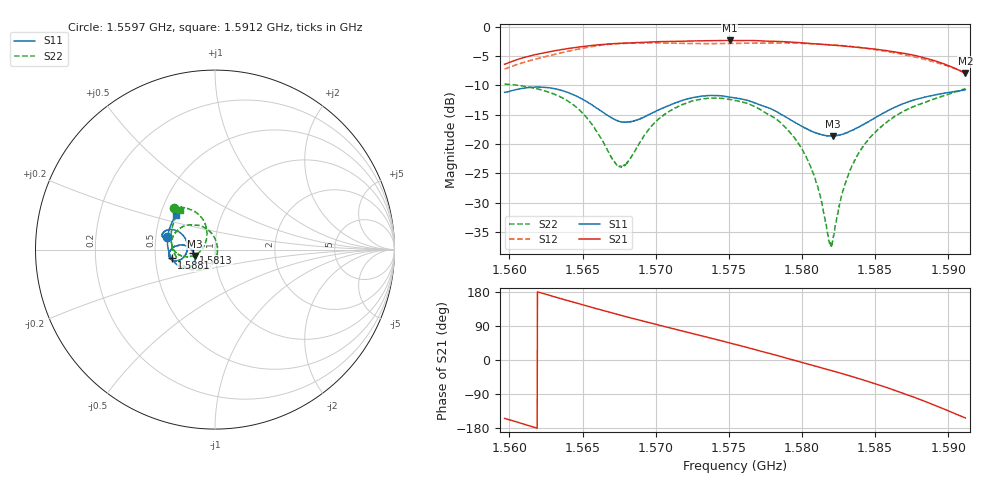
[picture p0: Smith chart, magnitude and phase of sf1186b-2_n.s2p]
!sf1186b-2, demo1,narrow,bn,7/20/05
# HZ S RI R 50
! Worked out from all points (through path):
!   1601 points, 1.5597 GHz to 1.5912 GHz, reference 50 ohm
!   highest |S21| = -2.36 dB at 1.575 GHz (marker M1); lowest = -8.0 dB at 1.5912 GHz (marker M2)
!   lowest |S11| = -18.6 dB at 1.5821 GHz (marker M3), VSWR 1.27, Z = 39.9 - j2.86 ohm
!   |S11| at or under -10 dB: start of sweep to end of sweep
!   |S22| runs from -37.4 to -9.8 dB; largest |S21 - S12| = 0.072
!   S11 on the Smith chart (normalised r, x): 1.5597 GHz: 0.57, +0.09; 1.5813 GHz: 0.79, -0.03; 1.5881 GHz: 0.61, -0.06; 1.5912 GHz: 0.60, +0.25
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1.55967e9  -0.2667 0.0698  -0.4295 -0.2089  -0.3808 -0.2118  -0.226 0.2312
1.562328e9  -0.2902 0.0923  -0.5949 0.0503  -0.5499 -0.00174  -0.1661 0.2311
1.564927e9  -0.2192 0.1062  -0.5622 0.3716  -0.5746 0.3063  -0.0714 0.1736
1.567584e9  -0.153 0.0257  -0.3412 0.6348  -0.3701 0.6142  -0.0572 0.0296
1.568057e9  -0.1545 0.00619  -0.2875 0.6645  -0.3142 0.6482  -0.0683 0.00879
1.570183e9  -0.1869 -0.054  -0.0311 0.7439  -0.0421 0.7248  -0.1583 -0.0398
1.572487e9  -0.2408 -0.059  0.2566 0.7097  0.2324 0.6791  -0.2326 0.000999
1.575046e9  -0.2509 -0.00931  0.5375 0.5399  0.486 0.5297  -0.2198 0.0956
1.57542e9  -0.2473 -0.00366  0.5704 0.5023  0.5191 0.4993  -0.2094 0.1058
1.57857e9  -0.1772 0.0249  0.7362 0.1165  0.709 0.1591  -0.0754 0.1302
1.57981e9  -0.1456 0.0119  0.7278 -0.0538  0.7211 -0.0112  -0.0239 0.0962
1.580677e9  -0.1282 -0.00376  0.6964 -0.1665  0.7021 -0.1292  0.000486 0.0603
1.581287e9  -0.1198 -0.0163  0.6644 -0.2393  0.676 -0.2097  0.0103 0.0329
1.581858e9  -0.1139 -0.0298  0.6282 -0.3068  0.6413 -0.2824  0.0139 0.00543
1.582114e9  -0.1117 -0.0354  0.6088 -0.3358  0.6227 -0.3146  0.0133 -0.00701
1.582724e9  -0.1099 -0.0498  0.5565 -0.4003  0.5711 -0.3849  0.00984 -0.0357
1.583413e9  -0.1126 -0.0663  0.4872 -0.4642  0.5002 -0.4553  -0.00297 -0.0653
1.584516e9  -0.1262 -0.088  0.3582 -0.5443  0.3649 -0.5382  -0.042 -0.1008
1.585933e9  -0.1644 -0.103  0.1665 -0.598  0.1702 -0.5863  -0.1103 -0.1149
1.588118e9  -0.2407 -0.0487  -0.1431 -0.5336  -0.123 -0.5227  -0.2155 -0.0416
1.589713e9  -0.2648 0.0584  -0.3063 -0.3708  -0.2782 -0.3818  -0.2449 0.0844
1.59117e9  -0.2166 0.1924  -0.3556 -0.1811  -0.3466 -0.2137  -0.1952 0.2223
